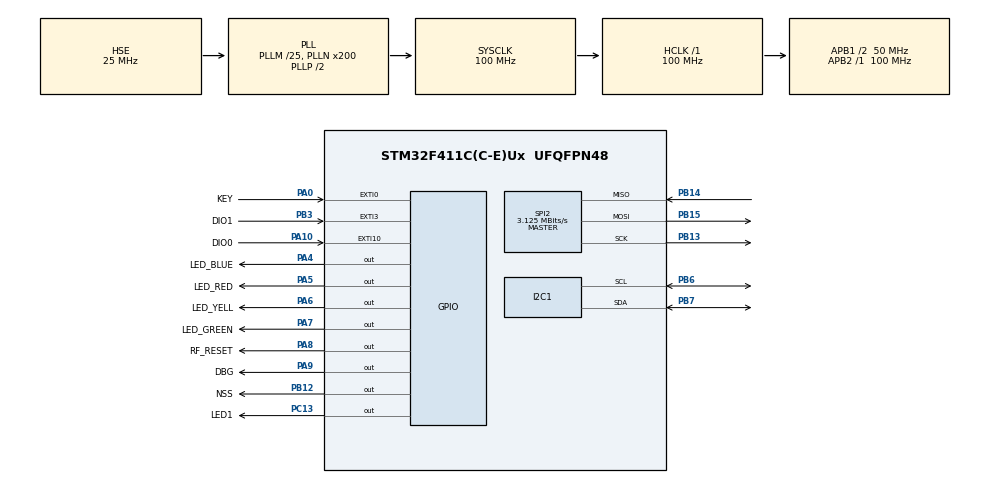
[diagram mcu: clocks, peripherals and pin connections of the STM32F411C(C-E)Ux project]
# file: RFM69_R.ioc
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Dma.Request0=SPI2_RX
Dma.Request1=SPI2_TX
Dma.SPI2_RX.0.Direction=DMA_PERIPH_TO_MEMORY
Dma.SPI2_RX.0.FIFOMode=DMA_FIFOMODE_DISABLE
Dma.SPI2_RX.0.Instance=DMA1_Stream3
Dma.SPI2_RX.0.MemDataAlignment=DMA_MDATAALIGN_BYTE
Dma.SPI2_RX.0.MemInc=DMA_MINC_ENABLE
Dma.SPI2_RX.0.Mode=DMA_NORMAL
Dma.SPI2_RX.0.PeriphDataAlignment=DMA_PDATAALIGN_BYTE
Dma.SPI2_RX.0.PeriphInc=DMA_PINC_DISABLE
Dma.SPI2_RX.0.Priority=DMA_PRIORITY_VERY_HIGH
Dma.SPI2_TX.1.Direction=DMA_MEMORY_TO_PERIPH
Dma.SPI2_TX.1.FIFOMode=DMA_FIFOMODE_DISABLE
Dma.SPI2_TX.1.Instance=DMA1_Stream4
Dma.SPI2_TX.1.MemDataAlignment=DMA_MDATAALIGN_BYTE
Dma.SPI2_TX.1.MemInc=DMA_MINC_ENABLE
Dma.SPI2_TX.1.Mode=DMA_NORMAL
Dma.SPI2_TX.1.PeriphDataAlignment=DMA_PDATAALIGN_BYTE
Dma.SPI2_TX.1.PeriphInc=DMA_PINC_DISABLE
Dma.SPI2_TX.1.Priority=DMA_PRIORITY_VERY_HIGH
FREERTOS.BinarySemaphores01=SemaphoreKEY,Dynamic,NULL;SemDIO_RF69,Static,SemDIO_RF69ControlBlock;SemTimer_RF69,Static,SemTimer_RF69ControlBlock;SemReceiv_RF69,Dynamic,NULL
FREERTOS.HEAP_NUMBER=5
FREERTOS.INCLUDE_uxTaskGetStackHighWaterMark2=1
FREERTOS.Mutexes01=RF_Mutex,Static,RF_MutexControlBlock
FREERTOS.Queues01=QueueBufRxValid,1,uint8_t,0,Static,QueueBufRxValidBuffer,QueueBufRxValidControlBlock
FREERTOS.Tasks01=defaultTask,24,128,StartDefaultTask,Default,NULL,Static,defaultTaskBuffer,defaultTaskControlBlock;InitTask,40,384,StartInitTask,Default,NULL,Dynamic,NULL,NULL;RadioTask,24,512,StartRadioTask,Default,NULL,Static,RadioTaskBuffer,RadioTaskControlBlock;TaskKey,24,128,StartTaskKey,Default,NULL,Dynamic,NULL,NULL;TaskDIO_RF69,48,256,StartDIO_RF69,As weak,NULL,Static,DIO_RF69Buffer,DIO_RF69ControlBlock;TaskTIM_RF69,49,256,StartTaskTIM_RF69,Default,NULL,Static,TaskTIM_RF69Buffer,TaskTIM_RF69ControlBlock;TaskRF69_Recive,25,256,StartTaskRF69_Recive,Default,NULL,Static,TaskRF69_ReciveBuffer,TaskRF69_ReciveControlBlock
FREERTOS.configCHECK_FOR_STACK_OVERFLOW=2
FREERTOS.configUSE_IDLE_HOOK=1
FREERTOS.configUSE_TICK_HOOK=1
I2C1.I2C_Mode=I2C_Fast
Mcu.Family=STM32F4
Mcu.Name=STM32F411C(C-E)Ux
Mcu.Package=UFQFPN48
NVIC.DMA1_Stream3_IRQn=true\:14\:0\:true\:false\:true\:true\:false\:true
NVIC.DMA1_Stream4_IRQn=true\:14\:0\:true\:false\:true\:true\:false\:true
NVIC.EXTI0_IRQn=true\:6\:0\:true\:false\:true\:true\:true\:true
NVIC.EXTI15_10_IRQn=true\:12\:0\:true\:false\:true\:true\:true\:true
NVIC.EXTI3_IRQn=true\:12\:0\:true\:false\:true\:true\:true\:true
NVIC.PriorityGroup=NVIC_PRIORITYGROUP_4
NVIC.SPI2_IRQn=true\:13\:0\:true\:false\:true\:true\:true\:true
NVIC.TIM1_TRG_COM_TIM11_IRQn=true\:0\:0\:false\:false\:true\:false\:false\:true
NVIC.TIM1_UP_TIM10_IRQn=true\:10\:0\:true\:false\:true\:true\:true\:true
NVIC.TimeBase=TIM1_TRG_COM_TIM11_IRQn
NVIC.TimeBaseIP=TIM11
PA0-WKUP.GPIO_Label=KEY
PA0-WKUP.GPIO_ModeDefaultEXTI=GPIO_MODE_IT_RISING_FALLING
PA0-WKUP.GPIO_PuPd=GPIO_PULLUP
PA0-WKUP.Signal=GPXTI0
PA10.GPIO_Label=DIO0
PA10.GPIO_PuPd=GPIO_PULLDOWN
PA10.Signal=GPXTI10
PA13.Mode=Serial_Wire
PA13.Signal=SYS_JTMS-SWDIO
PA14.Mode=Serial_Wire
PA14.Signal=SYS_JTCK-SWCLK
PA4.GPIO_Label=LED_BLUE
PA4.GPIO_ModeDefaultOutputPP=GPIO_MODE_OUTPUT_OD
PA4.GPIO_Speed=GPIO_SPEED_FREQ_LOW
PA4.PinState=GPIO_PIN_SET
PA4.Signal=GPIO_Output
PA5.GPIO_Label=LED_RED
PA5.GPIO_ModeDefaultOutputPP=GPIO_MODE_OUTPUT_OD
PA5.GPIO_Speed=GPIO_SPEED_FREQ_LOW
PA5.PinState=GPIO_PIN_SET
PA5.Signal=GPIO_Output
PA6.GPIO_Label=LED_YELL
PA6.GPIO_ModeDefaultOutputPP=GPIO_MODE_OUTPUT_OD
PA6.GPIO_Speed=GPIO_SPEED_FREQ_LOW
PA6.PinState=GPIO_PIN_SET
PA6.Signal=GPIO_Output
PA7.GPIO_Label=LED_GREEN
PA7.GPIO_ModeDefaultOutputPP=GPIO_MODE_OUTPUT_OD
PA7.PinState=GPIO_PIN_SET
PA7.Signal=GPIO_Output
PA8.GPIO_Label=RF_RESET
PA8.GPIO_Speed=GPIO_SPEED_FREQ_VERY_HIGH
PA8.Signal=GPIO_Output
PA9.GPIO_Label=DBG
PA9.GPIO_Speed=GPIO_SPEED_FREQ_VERY_HIGH
PA9.PinState=GPIO_PIN_RESET
PA9.Signal=GPIO_Output
PB12.GPIO_Label=NSS
PB12.GPIO_Speed=GPIO_SPEED_FREQ_VERY_HIGH
PB12.PinState=GPIO_PIN_SET
PB12.Signal=GPIO_Output
PB13.Mode=Full_Duplex_Master
PB13.Signal=SPI2_SCK
PB14.Mode=Full_Duplex_Master
PB14.Signal=SPI2_MISO
PB15.Mode=Full_Duplex_Master
PB15.Signal=SPI2_MOSI
PB3.GPIO_Label=DIO1
PB3.GPIO_ModeDefaultEXTI=GPIO_MODE_IT_RISING_FALLING
PB3.GPIO_PuPd=GPIO_PULLDOWN
PB3.Signal=GPXTI3
PB6.GPIO_Pu=GPIO_PULLUP
PB6.Mode=I2C
PB6.Signal=I2C1_SCL
PB7.GPIO_Pu=GPIO_PULLUP
PB7.Mode=I2C
PB7.Signal=I2C1_SDA
PC13-ANTI_TAMP.GPIO_Label=LED1
PC13-ANTI_TAMP.GPIO_ModeDefaultOutputPP=GPIO_MODE_OUTPUT_OD
PC13-ANTI_TAMP.PinState=GPIO_PIN_SET
PC13-ANTI_TAMP.Signal=GPIO_Output
PC14-OSC32_IN.Mode=LSE-External-Oscillator
PC14-OSC32_IN.Signal=RCC_OSC32_IN
PC15-OSC32_OUT.Mode=LSE-External-Oscillator
PC15-OSC32_OUT.Signal=RCC_OSC32_OUT
PH0\ -\ OSC_IN.Mode=HSE-External-Oscillator
PH0\ -\ OSC_IN.Signal=RCC_OSC_IN
PH1\ -\ OSC_OUT.Mode=HSE-External-Oscillator
PH1\ -\ OSC_OUT.Signal=RCC_OSC_OUT
ProjectManager.HeapSize=0x200
ProjectManager.StackSize=0x400
ProjectManager.TargetToolchain=MDK-ARM V5.27
RCC.48MHZClocksFreq_Value=50000000
RCC.AHBFreq_Value=100000000
RCC.APB1CLKDivider=RCC_HCLK_DIV2
RCC.APB1Freq_Value=50000000
RCC.APB1TimFreq_Value=100000000
RCC.APB2Freq_Value=100000000
RCC.APB2TimFreq_Value=100000000
RCC.CortexFreq_Value=100000000
RCC.HCLKFreq_Value=100000000
RCC.HSE_VALUE=25000000
RCC.HSI_VALUE=16000000
RCC.PLLM=25
RCC.PLLN=200
RCC.PLLSourceVirtual=RCC_PLLSOURCE_HSE
RCC.SYSCLKFreq_VALUE=100000000
RCC.SYSCLKSource=RCC_SYSCLKSOURCE_PLLCLK
RCC.VCOOutputFreq_Value=200000000
RTC.Format=RTC_FORMAT_BCD
RTC.Hours=20
RTC.Minutes=20
RTC.Seconds=34
SPI2.BaudRatePrescaler=SPI_BAUDRATEPRESCALER_16
SPI2.CalculateBaudRate=3.125 MBits/s
SPI2.Direction=SPI_DIRECTION_2LINES
SPI2.Mode=SPI_MODE_MASTER
SPI2.VirtualType=VM_MASTER
TIM10.AutoReloadPreload=TIM_AUTORELOAD_PRELOAD_ENABLE
TIM10.Period=9999
TIM10.Prescaler=999
VP_CRC_VS_CRC.Mode=CRC_Activate
VP_FREERTOS_VS_CMSIS_V2.Mode=CMSIS_V2
VP_RTC_VS_RTC_Activate.Mode=RTC_Enabled
VP_RTC_VS_RTC_Calendar.Mode=RTC_Calendar
VP_SYS_VS_tim11.Mode=TIM11
VP_TIM10_VS_ClockSourceINT.Mode=Enable_Timer
VP_TIM10_VS_OPM.Mode=OPM_bit
board=custom

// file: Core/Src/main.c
/* USER CODE BEGIN Header */
/**
  ******************************************************************************
  * @file           : main.c
  * @brief          : Main program body
  ******************************************************************************
  * @attention
  *
  * <h2><center>&copy; Copyright (c) 2021 STMicroelectronics.
  * All rights reserved.</center></h2>
  *
  * This software component is licensed by ST under Ultimate Liberty license
  * SLA0044, the "License"; You may not use this file except in compliance with
  * the License. You may obtain a copy of the License at:
  *                             www.st.com/SLA0044
  *
  ******************************************************************************
  */
/* USER CODE END Header */
#include "main.h"
#include "cmsis_os.h"
#include "crc.h"
#include "dma.h"
#include "i2c.h"
#include "rtc.h"
#include "spi.h"
#include "tim.h"
#include "gpio.h"

/* USER CODE BEGIN Includes */
#include "RFM69_Config.h"
#include "RFM69_.h"

/* USER CODE END Includes */

/* USER CODE BEGIN PV */
extern void TIM_IRQHandler(TIM_HandleTypeDef *htim);

/* USER CODE END PV */

void SystemClock_Config(void);
void MX_FREERTOS_Init(void);

int main(void)
{

  /* MCU Configuration--------------------------------------------------------*/

  /* Reset of all peripherals, Initializes the Flash interface and the Systick. */
  HAL_Init();

  /* Configure the system clock */
  SystemClock_Config();

  /* Initialize all configured peripherals */
  MX_GPIO_Init();
  MX_DMA_Init();
  MX_CRC_Init();
  MX_RTC_Init();
  MX_SPI2_Init();
  MX_TIM10_Init();
  MX_I2C1_Init();

  /* Init scheduler */
  osKernelInitialize();  /* Call init function for freertos objects (in freertos.c) */
  MX_FREERTOS_Init();
  /* Start scheduler */
  osKernelStart();

  /* We should never get here as control is now taken by the scheduler */
  /* Infinite loop */
  while (1)
  {

  }
}

void SystemClock_Config(void)
{
  RCC_OscInitTypeDef RCC_OscInitStruct = {0};
  RCC_ClkInitTypeDef RCC_ClkInitStruct = {0};

  /** Configure the main internal regulator output voltage
  */
  __HAL_RCC_PWR_CLK_ENABLE();
  __HAL_PWR_VOLTAGESCALING_CONFIG(PWR_REGULATOR_VOLTAGE_SCALE1);
  /** Initializes the RCC Oscillators according to the specified parameters
  * in the RCC_OscInitTypeDef structure.
  */
  RCC_OscInitStruct.OscillatorType = RCC_OSCILLATORTYPE_LSI|RCC_OSCILLATORTYPE_HSE;
  RCC_OscInitStruct.HSEState = RCC_HSE_ON;
  RCC_OscInitStruct.LSIState = RCC_LSI_ON;
  RCC_OscInitStruct.PLL.PLLState = RCC_PLL_ON;
  RCC_OscInitStruct.PLL.PLLSource = RCC_PLLSOURCE_HSE;
  RCC_OscInitStruct.PLL.PLLM = 25;
  RCC_OscInitStruct.PLL.PLLN = 200;
  RCC_OscInitStruct.PLL.PLLP = RCC_PLLP_DIV2;
  RCC_OscInitStruct.PLL.PLLQ = 4;
  if (HAL_RCC_OscConfig(&RCC_OscInitStruct) != HAL_OK)
  {
    Error_Handler();
  }
  /** Initializes the CPU, AHB and APB buses clocks
  */
  RCC_ClkInitStruct.ClockType = RCC_CLOCKTYPE_HCLK|RCC_CLOCKTYPE_SYSCLK
                              |RCC_CLOCKTYPE_PCLK1|RCC_CLOCKTYPE_PCLK2;
  RCC_ClkInitStruct.SYSCLKSource = RCC_SYSCLKSOURCE_PLLCLK;
  RCC_ClkInitStruct.AHBCLKDivider = RCC_SYSCLK_DIV1;
  RCC_ClkInitStruct.APB1CLKDivider = RCC_HCLK_DIV2;
  RCC_ClkInitStruct.APB2CLKDivider = RCC_HCLK_DIV1;

  if (HAL_RCC_ClockConfig(&RCC_ClkInitStruct, FLASH_LATENCY_3) != HAL_OK)
  {
    Error_Handler();
  }
}

void HAL_TIM_PeriodElapsedCallback(TIM_HandleTypeDef *htim)
{
  /* USER CODE BEGIN Callback 0 */
	if(htim->Instance == _TIMER_WATCH_HANDLE.Instance)
	{
		TIM_IRQHandler(htim);
//		RF69_CallbackWatchTimer();
	}

  /* USER CODE END Callback 0 */
  if (htim->Instance == TIM11) {
    HAL_IncTick();
  }
}

void Error_Handler(void)
{
  __disable_irq();
  while (1)
  {
  }
}

/************************ (C) COPYRIGHT STMicroelectronics *****END OF FILE****/

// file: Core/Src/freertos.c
/* USER CODE BEGIN Header */
/**
	******************************************************************************
	* File Name          : freertos.c
	* Description        : Code for freertos applications
	******************************************************************************
	* @attention
	*
	* <h2><center>&copy; Copyright (c) 2021 STMicroelectronics.
	* All rights reserved.</center></h2>
	*
	* This software component is licensed by ST under Ultimate Liberty license
	* SLA0044, the "License"; You may not use this file except in compliance with
	* the License. You may obtain a copy of the License at:
	*                             www.st.com/SLA0044
	*
	******************************************************************************
	*/
//
/* USER CODE END Header */

#include "FreeRTOS.h"
#include "task.h"
#include "main.h"
#include "cmsis_os.h"

/* USER CODE BEGIN Includes */
#include <string.h>
#include <queue.h>
#include <semphr.h>

#include "MyAppConfig.h"
#include "RFM69_Config.h"
#include "RFM69_.h"
#include "RF69_ACK.h"
#include "RND_GEN.h"
/* USER CODE END Includes */

typedef StaticTask_t osStaticThreadDef_t;
typedef StaticQueue_t osStaticMessageQDef_t;
typedef StaticSemaphore_t osStaticMutexDef_t;
typedef StaticSemaphore_t osStaticSemaphoreDef_t;

/* USER CODE BEGIN Variables */
volatile static uint16_t _DioPin = 0;

#if _APP_MODE == 1U //Fixed Packet
extern const uint8_t _LMessage[256];
uint8_t buf[RF69_MAX_FIFO_LENGHT];
uint8_t lenghtBuf;
#endif
#if _APP_MODE == 2U //Var Packet
extern const uint8_t _LMessage[256];
uint8_t buf[256];
#endif
#if _APP_MODE == 3U //Unlim Packet
extern const uint8_t  _UMessage[512];
uint8_t buf[512];
#endif
#if _APP_MODE == 4U //Fixed Packet with ACK
extern const uint8_t _LMessage[256];
uint8_t buf[RF69_MAX_FIFO_LENGHT];
uint8_t lenghtBuf;
#endif
#if _APP_MODE == 5U //Fixed Packet with ACK
extern const uint8_t _LMessage[256];
uint8_t buf[RF69_MAX_FIFO_LENGHT];
uint8_t lenghtBuf;
#endif
#if _APP_MODE == 6U //Unlim Packet
extern const uint8_t  _UMessage[512];
uint8_t buf[_MAX_UNLIM_BUF_LENGHT];
uint16_t lenghtBuf;
#endif

/* USER CODE END Variables */
/* Definitions for defaultTask */
osThreadId_t defaultTaskHandle;
uint32_t defaultTaskBuffer[ 128 ];
osStaticThreadDef_t defaultTaskControlBlock;
const osThreadAttr_t defaultTask_attributes = {
  .name = "defaultTask",
  .cb_mem = &defaultTaskControlBlock,
  .cb_size = sizeof(defaultTaskControlBlock),
  .stack_mem = &defaultTaskBuffer[0],
  .stack_size = sizeof(defaultTaskBuffer),
  .priority = (osPriority_t) osPriorityNormal,
};
/* Definitions for InitTask */
osThreadId_t InitTaskHandle;
const osThreadAttr_t InitTask_attributes = {
  .name = "InitTask",
  .stack_size = 384 * 4,
  .priority = (osPriority_t) osPriorityHigh,
};
/* Definitions for RadioTask */
osThreadId_t RadioTaskHandle;
uint32_t RadioTaskBuffer[ 512 ];
osStaticThreadDef_t RadioTaskControlBlock;
const osThreadAttr_t RadioTask_attributes = {
  .name = "RadioTask",
  .cb_mem = &RadioTaskControlBlock,
  .cb_size = sizeof(RadioTaskControlBlock),
  .stack_mem = &RadioTaskBuffer[0],
  .stack_size = sizeof(RadioTaskBuffer),
  .priority = (osPriority_t) osPriorityNormal,
};
/* Definitions for TaskKey */
osThreadId_t TaskKeyHandle;
const osThreadAttr_t TaskKey_attributes = {
  .name = "TaskKey",
  .stack_size = 128 * 4,
  .priority = (osPriority_t) osPriorityNormal,
};
/* Definitions for TaskDIO_RF69 */
osThreadId_t TaskDIO_RF69Handle;
uint32_t DIO_RF69Buffer[ 256 ];
osStaticThreadDef_t DIO_RF69ControlBlock;
const osThreadAttr_t TaskDIO_RF69_attributes = {
  .name = "TaskDIO_RF69",
  .cb_mem = &DIO_RF69ControlBlock,
  .cb_size = sizeof(DIO_RF69ControlBlock),
  .stack_mem = &DIO_RF69Buffer[0],
  .stack_size = sizeof(DIO_RF69Buffer),
  .priority = (osPriority_t) osPriorityRealtime,
};
/* Definitions for TaskTIM_RF69 */
osThreadId_t TaskTIM_RF69Handle;
uint32_t TaskTIM_RF69Buffer[ 256 ];
osStaticThreadDef_t TaskTIM_RF69ControlBlock;
const osThreadAttr_t TaskTIM_RF69_attributes = {
  .name = "TaskTIM_RF69",
  .cb_mem = &TaskTIM_RF69ControlBlock,
  .cb_size = sizeof(TaskTIM_RF69ControlBlock),
  .stack_mem = &TaskTIM_RF69Buffer[0],
  .stack_size = sizeof(TaskTIM_RF69Buffer),
  .priority = (osPriority_t) osPriorityRealtime1,
};
/* Definitions for TaskRF69_Recive */
osThreadId_t TaskRF69_ReciveHandle;
uint32_t TaskRF69_ReciveBuffer[ 256 ];
osStaticThreadDef_t TaskRF69_ReciveControlBlock;
const osThreadAttr_t TaskRF69_Recive_attributes = {
  .name = "TaskRF69_Recive",
  .cb_mem = &TaskRF69_ReciveControlBlock,
  .cb_size = sizeof(TaskRF69_ReciveControlBlock),
  .stack_mem = &TaskRF69_ReciveBuffer[0],
  .stack_size = sizeof(TaskRF69_ReciveBuffer),
  .priority = (osPriority_t) osPriorityNormal1,
};
/* Definitions for QueueBufRxValid */
osMessageQueueId_t QueueBufRxValidHandle;
uint8_t QueueBufRxValidBuffer[ 1 * sizeof( uint8_t ) ];
osStaticMessageQDef_t QueueBufRxValidControlBlock;
const osMessageQueueAttr_t QueueBufRxValid_attributes = {
  .name = "QueueBufRxValid",
  .cb_mem = &QueueBufRxValidControlBlock,
  .cb_size = sizeof(QueueBufRxValidControlBlock),
  .mq_mem = &QueueBufRxValidBuffer,
  .mq_size = sizeof(QueueBufRxValidBuffer)
};
/* Definitions for RF_Mutex */
osMutexId_t RF_MutexHandle;
osStaticMutexDef_t RF_MutexControlBlock;
const osMutexAttr_t RF_Mutex_attributes = {
  .name = "RF_Mutex",
  .cb_mem = &RF_MutexControlBlock,
  .cb_size = sizeof(RF_MutexControlBlock),
};
/* Definitions for SemaphoreKEY */
osSemaphoreId_t SemaphoreKEYHandle;
const osSemaphoreAttr_t SemaphoreKEY_attributes = {
  .name = "SemaphoreKEY"
};
/* Definitions for SemDIO_RF69 */
osSemaphoreId_t SemDIO_RF69Handle;
osStaticSemaphoreDef_t SemDIO_RF69ControlBlock;
const osSemaphoreAttr_t SemDIO_RF69_attributes = {
  .name = "SemDIO_RF69",
  .cb_mem = &SemDIO_RF69ControlBlock,
  .cb_size = sizeof(SemDIO_RF69ControlBlock),
};
/* Definitions for SemTimer_RF69 */
osSemaphoreId_t SemTimer_RF69Handle;
osStaticSemaphoreDef_t SemTimer_RF69ControlBlock;
const osSemaphoreAttr_t SemTimer_RF69_attributes = {
  .name = "SemTimer_RF69",
  .cb_mem = &SemTimer_RF69ControlBlock,
  .cb_size = sizeof(SemTimer_RF69ControlBlock),
};
/* Definitions for SemReceiv_RF69 */
osSemaphoreId_t SemReceiv_RF69Handle;
const osSemaphoreAttr_t SemReceiv_RF69_attributes = {
  .name = "SemReceiv_RF69"
};

/* USER CODE BEGIN FunctionPrototypes */
void TIM_IRQHandler(TIM_HandleTypeDef *htim);

/* USER CODE END FunctionPrototypes */

void StartDefaultTask(void *argument);
void StartInitTask(void *argument);
void StartRadioTask(void *argument);
void StartTaskKey(void *argument);
void StartDIO_RF69(void *argument);
void StartTaskTIM_RF69(void *argument);
void StartTaskRF69_Recive(void *argument);

void MX_FREERTOS_Init(void); /* (MISRA C 2004 rule 8.1) */

/* Hook prototypes */
void vApplicationIdleHook(void);
void vApplicationTickHook(void);
void vApplicationStackOverflowHook(xTaskHandle xTask, signed char *pcTaskName);

/* USER CODE BEGIN 2 */
void vApplicationIdleHook( void )
{
   /* vApplicationIdleHook() will only be called if configUSE_IDLE_HOOK is set
   to 1 in FreeRTOSConfig.h. It will be called on each iteration of the idle
   task. It is essential that code added to this hook function never attempts
   to block in any way (for example, call xQueueReceive() with a block time
   specified, or call vTaskDelay()). If the application makes use of the
   vTaskDelete() API function (as this demo application does) then it is also
   important that vApplicationIdleHook() is permitted to return to its calling
   function, because it is the responsibility of the idle task to clean up
   memory allocated by the kernel to any task that has since been deleted. */
}
/* USER CODE END 2 */

/* USER CODE BEGIN 3 */
void vApplicationTickHook( void )
{
   /* This function will be called by each tick interrupt if
   configUSE_TICK_HOOK is set to 1 in FreeRTOSConfig.h. User code can be
   added here, but the tick hook is called from an interrupt context, so
   code must not attempt to block, and only the interrupt safe FreeRTOS API
   functions can be used (those that end in FromISR()). */
}
/* USER CODE END 3 */

/* USER CODE BEGIN 4 */
void vApplicationStackOverflowHook(xTaskHandle xTask, signed char *pcTaskName)
{
   /* Run time stack overflow checking is performed if
   configCHECK_FOR_STACK_OVERFLOW is defined to 1 or 2. This hook function is
   called if a stack overflow is detected. */
}
/* USER CODE END 4 */

void MX_FREERTOS_Init(void) {
  /* Create the mutex(es) */
  /* creation of RF_Mutex */
  RF_MutexHandle = osMutexNew(&RF_Mutex_attributes);

  /* Create the semaphores(s) */
  /* creation of SemaphoreKEY */
  SemaphoreKEYHandle = osSemaphoreNew(1, 1, &SemaphoreKEY_attributes);

  /* creation of SemDIO_RF69 */
  SemDIO_RF69Handle = osSemaphoreNew(1, 1, &SemDIO_RF69_attributes);

  /* creation of SemTimer_RF69 */
  SemTimer_RF69Handle = osSemaphoreNew(1, 1, &SemTimer_RF69_attributes);

  /* creation of SemReceiv_RF69 */
  SemReceiv_RF69Handle = osSemaphoreNew(1, 1, &SemReceiv_RF69_attributes);

  /* Create the queue(s) */
  /* creation of QueueBufRxValid */
  QueueBufRxValidHandle = osMessageQueueNew (1, sizeof(uint8_t), &QueueBufRxValid_attributes);

  /* Create the thread(s) */
  /* creation of defaultTask */
  defaultTaskHandle = osThreadNew(StartDefaultTask, NULL, &defaultTask_attributes);

  /* creation of InitTask */
  InitTaskHandle = osThreadNew(StartInitTask, NULL, &InitTask_attributes);

  /* creation of RadioTask */
  RadioTaskHandle = osThreadNew(StartRadioTask, NULL, &RadioTask_attributes);

  /* creation of TaskKey */
  TaskKeyHandle = osThreadNew(StartTaskKey, NULL, &TaskKey_attributes);

  /* creation of TaskDIO_RF69 */
  TaskDIO_RF69Handle = osThreadNew(StartDIO_RF69, NULL, &TaskDIO_RF69_attributes);

  /* creation of TaskTIM_RF69 */
  TaskTIM_RF69Handle = osThreadNew(StartTaskTIM_RF69, NULL, &TaskTIM_RF69_attributes);

  /* creation of TaskRF69_Recive */
  TaskRF69_ReciveHandle = osThreadNew(StartTaskRF69_Recive, NULL, &TaskRF69_Recive_attributes);

}

void StartDefaultTask(void *argument)
{
	for(;;)
	{
		osDelay(1);
	}
}

void StartInitTask(void *argument)
{
  /* USER CODE BEGIN StartInitTask */
  /* Infinite loop */
	osMutexWait(RF_MutexHandle, osWaitForever);
	RF69_Init();
	InitRND();

	osMutexRelease(RF_MutexHandle);
	 vTaskDelete(InitTaskHandle);
  /* USER CODE END StartInitTask */
}

void StartRadioTask(void *argument)
{
  /* USER CODE BEGIN StartRadioTask */
	/* Infinite loop */
	volatile static uint32_t _good = 0;
	volatile static uint32_t _bad = 0;
	volatile static uint32_t _all = 0;
	volatile static float _percent = 0;

	volatile static bool _flag= 0;
	for(;;)
	{
		osMutexWait(RF_MutexHandle, osWaitForever);

#if _APP_MODE == 1U //Fixed Packet
	DBG_ON;
	DBG_OFF;
		RF69_PacketMode(_PACKET_FIXED);
		RF69_WaitAvailableTimeout(1000);
		lenghtBuf = RF69_MAX_FIFO_LENGHT;
		_flag = RF69_Recv((uint8_t*) buf, &lenghtBuf);
		_all++;
		if(_flag)
		{
			LED_YELL_ON;
			if(!memcmp(buf, _LMessage, lenghtBuf))
			{
				LED_GREEN_ON;
				_good++;
			}
			else
			{
//				LED_RED_ON;
				_bad++;
			}

		}
		else
		{
			LED_RED_ON;
			_bad++;
		}
		_percent = _bad/((float)_all/100);

#endif
#if _APP_MODE == 2U //Variable Packet
		_all++;
		volatile static uint8_t size = 254;
		volatile static uint8_t buf[255] ={0,};
		RF69_PacketMode(_PACKET_VARIABLE);
		size = 255;
		_flag = RF69_WaitAvailableTimeout(1000);
		if(_flag)
		{
			LED_YELL_ON;
			RF69_RecvVariablePacket ((uint8_t*)buf, (uint8_t*)&size);
			_flag = memcmp((uint8_t*)_LMessage, (uint8_t*)buf, size);
			if(!_flag)
			{
				LED_GREEN_ON;
				_good++;
			}
			else
			{
				_bad++;
			}
		}
		else
		{
			LED_RED_ON;
			_bad++;
		}
		_percent = _bad/((float)_all/100);
//extern bool SendACK(uint8_t *buf, uint16_t len);

//	SendACK((uint8_t*)_LMessage, size);

#endif

#if _APP_MODE == 3U //Unlimited Packet
		static uint8_t buf[2048];
		RF69_PacketMode(_PACKET_UNLIMIT);
		_flag = RF69_WaitAvailableTimeout(1000);
		static uint16_t size = 0;
		_all++;
		memset((uint8_t*)buf, 0, sizeof(buf));
		size = sizeof(buf);
		if(_flag)
		{
			LED_YELL_ON;
			RF69_RecvUnlimitPacket ((uint8_t*)buf, (uint16_t*)&size);

			_flag = memcmp((uint8_t*)_UMessage, (uint8_t*)buf, size);
			if(!_flag)
			{
				LED_GREEN_ON;
				_good++;
			}
			else
			{
				_bad++;
			}

		}
		else
		{
			LED_RED_ON;
			_bad++;
		}
		_percent = _bad/((float)_all/100);

#endif

#if _APP_MODE == 4U //Fix Packet with ACK
		lenghtBuf = RF69_MAX_FIX_BUF_LEN;
		_flag = RecevFixACK((uint8_t*)buf, &lenghtBuf);
		if(_flag)
		{
			LED_YELL_ON;
			_flag = memcmp((uint8_t*)buf, _LMessage, lenghtBuf);
			if(_flag == 0)
			{
				LED_GREEN_ON;
				_good++;
			}
			else
			{
				_bad++;
			}

		}
		else
		{
			LED_RED_ON;
			_bad++;
		}

#endif
#if _APP_MODE == 5U //Var Packet with ACK

		lenghtBuf = 255;
//		osDelay(10);
		_flag = RecevVarACK((uint8_t*)buf, &lenghtBuf);
		if(_flag)
		{
			LED_YELL_ON;
			_flag = memcmp((uint8_t*)buf, _LMessage, lenghtBuf);
			if(_flag == 0)
			{
				LED_GREEN_ON;
				_good++;
			}
			else
			{
				_bad++;
			}

		}
		else
		{
			LED_RED_ON;
			_bad++;
		}

#endif
#if _APP_MODE == 6U //Var Packet with ACK
		lenghtBuf = _MAX_UNLIM_BUF_LENGHT;
		_flag = RecevUnlimACK((uint8_t*)buf, &lenghtBuf);
		if(_flag)
		{
			LED_YELL_ON;
			_flag = memcmp((uint8_t*)buf, _UMessage, lenghtBuf);
			if(_flag == 0)
			{
				LED_GREEN_ON;
				_good++;
			}
			else
			{
				_bad++;
			}

		}
		else
		{
			LED_RED_ON;
			_bad++;
		}

#endif
		osMutexRelease(RF_MutexHandle);
		osDelay(20);
		LED_BLUE_OFF;
		LED_GREEN_OFF;
		LED_RED_OFF;
		LED_YELL_OFF;
		osDelay(80);
  }
  /* USER CODE END StartRadioTask */
}

void StartTaskKey(void *argument)
{
  /* USER CODE BEGIN StartTaskKey */
	/* Infinite loop */
	for(;;)
	{
		xSemaphoreTake(SemaphoreKEYHandle, portMAX_DELAY );
		if(HAL_GPIO_ReadPin(KEY_GPIO_Port, KEY_Pin) == GPIO_PIN_SET)
		{
		  DBG_ON;
		}
		else
		{
		  DBG_OFF;
		}
		LED1_ON;
		osDelay(20);
		LED1_OFF;
		osDelay(180);
	}
  /* USER CODE END StartTaskKey */
}

__weak void StartDIO_RF69(void *argument)
{
  /* USER CODE BEGIN StartDIO_RF69 */
	/* Infinite loop */
	for(;;)
	{
		xSemaphoreTake(SemDIO_RF69Handle, portMAX_DELAY );
		if(_DioPin == DIO0_Pin)
		{
			RF69_Interrupt_DIO0();
		}
		if(_DioPin == DIO1_Pin)
		{

			if(HAL_GPIO_ReadPin(DIO1_GPIO_Port, DIO1_Pin) == RESET)
			{
				RF69_Interrupt_DIO1_Falling();
			}
			else
			{
				RF69_Interrupt_DIO1_Rising();
			}
		}
	//    osDelay(1);
	}
  /* USER CODE END StartDIO_RF69 */
}

void StartTaskTIM_RF69(void *argument)
{
  /* USER CODE BEGIN StartTaskTIM_RF69 */
	/* Infinite loop */
	for(;;)
	{
		xSemaphoreTake(SemDIO_RF69Handle, portMAX_DELAY );
		RF69_CallbackWatchTimer();
//		osDelay(1);
	}
  /* USER CODE END StartTaskTIM_RF69 */
}

void StartTaskRF69_Recive(void *argument)
{
  for(;;)
  {
    osDelay(1);
  }
}

/* USER CODE BEGIN Application */
void HAL_GPIO_EXTI_Callback(uint16_t GPIO_Pin)
{
	static portBASE_TYPE xHigherPriorityTaskWoken;
	xHigherPriorityTaskWoken = pdFALSE;
/* Prevent unused argument(s) compilation warning */
	if(GPIO_Pin == DIO0_Pin)
	{
		_DioPin = GPIO_Pin;
		xSemaphoreGiveFromISR(SemDIO_RF69Handle, &xHigherPriorityTaskWoken );
//		RF69_Interrupt_DIO0();
		portEND_SWITCHING_ISR(xHigherPriorityTaskWoken);
	}
	if(GPIO_Pin == DIO1_Pin)
	{
		_DioPin = GPIO_Pin;
		xSemaphoreGiveFromISR(SemDIO_RF69Handle, &xHigherPriorityTaskWoken );
//		RF69_Interrupt_DIO0();
		portEND_SWITCHING_ISR(xHigherPriorityTaskWoken);
	}

//	if(GPIO_Pin == DIO1_Pin)
//	{
//
//		if(HAL_GPIO_ReadPin(DIO1_GPIO_Port, DIO1_Pin) == RESET)
//		{
//			RF69_Interrupt_DIO1_Falling();
//		}
//		else
//		{
//			RF69_Interrupt_DIO1_Rising();
//		}
//	}
	if(GPIO_Pin == KEY_Pin)
	{
//		if(HAL_GPIO_ReadPin(KEY_GPIO_Port, KEY_Pin) == GPIO_PIN_SET)
//		{
		xSemaphoreGiveFromISR(SemaphoreKEYHandle, &xHigherPriorityTaskWoken );
//		}
		portEND_SWITCHING_ISR(xHigherPriorityTaskWoken);
	}
	UNUSED(GPIO_Pin);

}
void TIM_IRQHandler(TIM_HandleTypeDef *htim)
{
	static portBASE_TYPE xHigherPriorityTaskWoken;
	xHigherPriorityTaskWoken = pdFALSE;
	xSemaphoreGiveFromISR(SemTimer_RF69Handle, &xHigherPriorityTaskWoken );
	portEND_SWITCHING_ISR(xHigherPriorityTaskWoken);
	UNUSED(htim);
}

/* USER CODE END Application */

/************************ (C) COPYRIGHT STMicroelectronics *****END OF FILE****/
